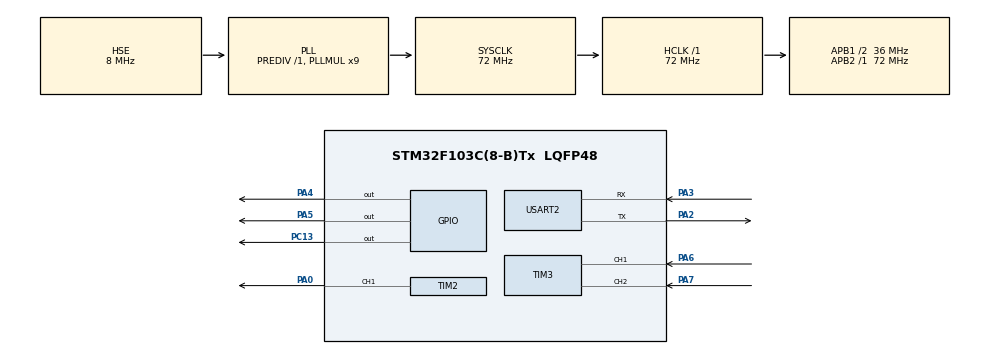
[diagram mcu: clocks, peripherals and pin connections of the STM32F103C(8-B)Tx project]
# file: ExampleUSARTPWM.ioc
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Mcu.Family=STM32F1
Mcu.Name=STM32F103C(8-B)Tx
Mcu.Package=LQFP48
NVIC.PriorityGroup=NVIC_PRIORITYGROUP_4
NVIC.TIM1_BRK_IRQn=true\:0\:0\:false\:false\:true\:true\:true
NVIC.TIM1_CC_IRQn=true\:0\:0\:false\:false\:true\:true\:true
NVIC.TIM1_TRG_COM_IRQn=true\:0\:0\:false\:false\:true\:true\:true
NVIC.TIM1_UP_IRQn=true\:0\:0\:false\:false\:true\:true\:true
NVIC.TIM3_IRQn=true\:0\:0\:false\:false\:true\:true\:true
NVIC.USART2_IRQn=true\:0\:0\:false\:false\:true\:true\:true
PA0-WKUP.Signal=S_TIM2_CH1_ETR
PA2.Mode=Asynchronous
PA2.Signal=USART2_TX
PA3.Mode=Asynchronous
PA3.Signal=USART2_RX
PA4.Signal=GPIO_Output
PA5.Signal=GPIO_Output
PA6.Signal=S_TIM3_CH1
PA7.Signal=S_TIM3_CH2
PC13-TAMPER-RTC.Signal=GPIO_Output
PD0-OSC_IN.Mode=HSE-External-Oscillator
PD0-OSC_IN.Signal=RCC_OSC_IN
PD1-OSC_OUT.Mode=HSE-External-Oscillator
PD1-OSC_OUT.Signal=RCC_OSC_OUT
ProjectManager.HeapSize=0x200
ProjectManager.StackSize=0x400
ProjectManager.TargetToolchain=STM32CubeIDE
RCC.AHBFreq_Value=72000000
RCC.APB1CLKDivider=RCC_HCLK_DIV2
RCC.APB1Freq_Value=36000000
RCC.APB1TimFreq_Value=72000000
RCC.APB2Freq_Value=72000000
RCC.APB2TimFreq_Value=72000000
RCC.HCLKFreq_Value=72000000
RCC.PLLMUL=RCC_PLL_MUL9
RCC.PLLSourceVirtual=RCC_PLLSOURCE_HSE
RCC.SYSCLKFreq_VALUE=72000000
RCC.SYSCLKSource=RCC_SYSCLKSOURCE_PLLCLK
RCC.USBFreq_Value=72000000
SH.S_TIM2_CH1_ETR.0=TIM2_CH1,PWM Generation1 CH1
SH.S_TIM3_CH1.0=TIM3_CH1,Encoder_Interface
SH.S_TIM3_CH2.0=TIM3_CH2,Encoder_Interface
TIM1.Channel-Output\ Compare1\ No\ Output=TIM_CHANNEL_1
TIM2.Channel-PWM\ Generation1\ CH1=TIM_CHANNEL_1
USART2.VirtualMode=VM_ASYNC
VP_SYS_VS_ND.Mode=No_Debug
VP_TIM1_VS_ClockSourceINT.Mode=Internal
VP_TIM1_VS_no_output1.Mode=Output Compare1 No Output
board=custom

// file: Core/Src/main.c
/* USER CODE BEGIN Header */
/**
  ******************************************************************************
  * @file           : main.c
  * @brief          : Main program body
  ******************************************************************************
  * @attention
  *
  * <h2><center>&copy; Copyright (c) 2020 STMicroelectronics.
  * All rights reserved.</center></h2>
  *
  * This software component is licensed by ST under BSD 3-Clause license,
  * the "License"; You may not use this file except in compliance with the
  * License. You may obtain a copy of the License at:
  *                        opensource.org/licenses/BSD-3-Clause
  *
  ******************************************************************************
  */
/* USER CODE END Header */

#include "main.h"

/* USER CODE BEGIN Includes */
#include "stdlib.h"
#include <stdio.h>
#include <inttypes.h>
#include "retarget.h"
/* USER CODE END Includes */

/* USER CODE BEGIN PD */
#define MAX_BUFFER 20
/* USER CODE END PD */

TIM_HandleTypeDef htim1;
TIM_HandleTypeDef htim2;
TIM_HandleTypeDef htim3;

UART_HandleTypeDef huart2;

/* USER CODE BEGIN PV */
uint8_t byte, indRx, flagRx, imprimir = 1, sentido;
char buffer[MAX_BUFFER];
int contOUFlow = 0, pulsosAnt = 0, pulsosAct = 0;
float velocidadPulsos = 0, velocidadRPM = 0, deltaT = 0.01;
/* USER CODE END PV */

//variables para control
double error_vel_act = 0, error_vel_ant = 0;
double velocidad_consigna=28;
float KP = 1, KI = 10, KD = 0;
double Ui_anterior=0, Ui_actual=0; // para control integral
double Up=0;
double Ud=0;
int control=0;

uint32_t duty_cycle_pid = 0;
void SystemClock_Config(void);
static void MX_GPIO_Init(void);
static void MX_TIM2_Init(void);
static void MX_USART2_UART_Init(void);
static void MX_TIM1_Init(void);
static void MX_TIM3_Init(void);

void interpreteComando(){

	uint32_t duty_cycle;
	double consigna;

	switch(buffer[0]){
	case 'W':
	case 'w':
		switch(buffer[1]){
		case 'I':
		case 'i':
			HAL_GPIO_TogglePin(GPIOA, GPIO_PIN_4);
			HAL_GPIO_TogglePin(GPIOA, GPIO_PIN_5);
			consigna = atof(&buffer[2]);
			//duty_cycle = (uint32_t) ((consigna*0.6) * __HAL_TIM_GET_AUTORELOAD(&htim2));
			//duty_cycle = (uint32_t) ((consigna));
			//__HAL_TIM_SET_COMPARE(&htim2, TIM_CHANNEL_1, duty_cycle);
			//printf("\r\n Duty Cycle (inversion de marcha):  %" PRIu32 "\r\n", duty_cycle);

			//imprimir = 1;
			break;

		default:
//			HAL_GPIO_WritePin(GPIOA, GPIO_PIN_4, 1);
//			HAL_GPIO_WritePin(GPIOA, GPIO_PIN_5, 0);
			consigna = atof(&buffer[1]);
			//duty_cycle = (uint32_t) ((consigna/23) * __HAL_TIM_GET_AUTORELOAD(&htim2));
			//duty_cycle = (uint32_t) ((consigna));
			//__HAL_TIM_SET_COMPARE(&htim2, TIM_CHANNEL_1, duty_cycle);
			printf("\r\n Duty Cycle: %" PRIu32 "\r\n", __HAL_TIM_GET_COMPARE(&htim2,TIM_CHANNEL_1));
			//imprimir = 1;

		}
		break;
	case 'v':
	case 'V':
		printf("\r\nVelocidad: %lf\r\n", velocidadRPM);
		break;
	case 'c':
	case 'C':
		control=1;
		break;
	}

}
int main(void)
{

  /* MCU Configuration--------------------------------------------------------*/

  /* Reset of all peripherals, Initializes the Flash interface and the Systick. */
  HAL_Init();

  /* Configure the system clock */
  SystemClock_Config();

  /* Initialize all configured peripherals */
  MX_GPIO_Init();
  MX_TIM2_Init();
  MX_USART2_UART_Init();
  MX_TIM1_Init();
  MX_TIM3_Init();
  /* USER CODE BEGIN 2 */

  RetargetInit(&huart2);
  HAL_UART_Receive_IT(&huart2, &byte, 1);

	HAL_TIM_Base_Start_IT(&htim1);
	HAL_TIM_OC_Start_IT(&htim1, TIM_CHANNEL_1);

    HAL_TIM_Base_Start(&htim2);
    HAL_TIM_PWM_Start_IT(&htim2, TIM_CHANNEL_1);

    HAL_TIM_Base_Start_IT(&htim3);
    HAL_TIM_Encoder_Start_IT(&htim3, TIM_CHANNEL_ALL);

    HAL_GPIO_WritePin(GPIOA, GPIO_PIN_4, 0);
    HAL_GPIO_WritePin(GPIOA, GPIO_PIN_5, 1);
  /* USER CODE END 2 */

  /* Infinite loop */
  while (1)
  {
	HAL_GPIO_WritePin(GPIOC, GPIO_PIN_13, 1);
	HAL_Delay(100);
	HAL_GPIO_WritePin(GPIOC, GPIO_PIN_13, 0);
	HAL_Delay(100);

  }
}

void HAL_TIM_PeriodElapsedCallback (TIM_HandleTypeDef *htim){
	if(htim->Instance == TIM1){
		pulsosAct = contOUFlow*(htim->Init.Period+1) + __HAL_TIM_GET_COUNTER(&htim3);
		velocidadPulsos = (pulsosAct - pulsosAnt)/deltaT;
		velocidadRPM = velocidadPulsos/(168*44) * 60;
		pulsosAnt = pulsosAct;
		if(control==1){

			//printf("\r\nVelocidad: %f\r\n", velocidadRPM); // @suppress("Float formatting support")
			//calculo PID:
			printf("\r\nVelocidad: %lf\r\n", velocidadRPM);
			error_vel_act = velocidad_consigna-velocidadRPM;
			Up=KP * error_vel_act;
			Ui_actual=Ui_anterior + KI * deltaT * error_vel_ant;
			Ud=KD/ deltaT * (error_vel_act-error_vel_ant);
			duty_cycle_pid = (uint32_t) (Up + Ui_actual + Ud);
			if(duty_cycle_pid > 12200){
				duty_cycle_pid=12200;
			}
			__HAL_TIM_SET_COMPARE(&htim2, TIM_CHANNEL_1, duty_cycle_pid);
			Ui_anterior=Ui_actual;
			error_vel_ant=error_vel_act;
		}
	}else if(htim->Instance == TIM3){
		if(__HAL_TIM_GET_COUNTER(&htim3) > (htim->Init.Period+1)/2){ //Underflow
			contOUFlow--;
		}else{ //Overflow
			contOUFlow++;
		}
	}
}

void HAL_UART_RxCpltCallback(UART_HandleTypeDef *huart){

	  if (huart->Instance == USART2)
	  {
		  switch(byte){
		  	  case ':': //Comienzo de la trama
		  		  flagRx = 1;
		  		  imprimir = 0;
		  		  HAL_UART_Transmit(&huart2, &byte, 1, 100);
		  		  indRx = 0;
		  		  break;
		  	  case '\r': //Retorno, fin de trama.
		  	  case ';':  //Fin de trama.
		  		HAL_UART_Transmit(&huart2, &byte, 1, 100);
		  		  if(flagRx){
		  			flagRx = 0;
		  			buffer[indRx] = 0;
		  			interpreteComando();
		  		  }
		  		  break;
		  	  case 8: //Retroceso es permitido de esta manera.
		  		  if(flagRx){
		  			  if(indRx > 0) indRx--;
		  		  }
		  		  break;
		  	  default: //Almacenamiento de la trama.
		  		HAL_UART_Transmit(&huart2, &byte, 1, 100);
		  		  if(flagRx){
		  			  buffer[indRx] = byte;
		  			  if(indRx < MAX_BUFFER - 1) indRx++;
		  		  }
		  }

	    /* Receive one byte in interrupt mode */
	    HAL_UART_Receive_IT(&huart2, &byte, 1);
	  }
}
void SystemClock_Config(void)
{
  RCC_OscInitTypeDef RCC_OscInitStruct = {0};
  RCC_ClkInitTypeDef RCC_ClkInitStruct = {0};

  /** Initializes the CPU, AHB and APB busses clocks
  */
  RCC_OscInitStruct.OscillatorType = RCC_OSCILLATORTYPE_HSE;
  RCC_OscInitStruct.HSEState = RCC_HSE_ON;
  RCC_OscInitStruct.HSEPredivValue = RCC_HSE_PREDIV_DIV1;
  RCC_OscInitStruct.HSIState = RCC_HSI_ON;
  RCC_OscInitStruct.PLL.PLLState = RCC_PLL_ON;
  RCC_OscInitStruct.PLL.PLLSource = RCC_PLLSOURCE_HSE;
  RCC_OscInitStruct.PLL.PLLMUL = RCC_PLL_MUL9;
  if (HAL_RCC_OscConfig(&RCC_OscInitStruct) != HAL_OK)
  {
    Error_Handler();
  }
  /** Initializes the CPU, AHB and APB busses clocks
  */
  RCC_ClkInitStruct.ClockType = RCC_CLOCKTYPE_HCLK|RCC_CLOCKTYPE_SYSCLK
                              |RCC_CLOCKTYPE_PCLK1|RCC_CLOCKTYPE_PCLK2;
  RCC_ClkInitStruct.SYSCLKSource = RCC_SYSCLKSOURCE_PLLCLK;
  RCC_ClkInitStruct.AHBCLKDivider = RCC_SYSCLK_DIV1;
  RCC_ClkInitStruct.APB1CLKDivider = RCC_HCLK_DIV2;
  RCC_ClkInitStruct.APB2CLKDivider = RCC_HCLK_DIV1;

  if (HAL_RCC_ClockConfig(&RCC_ClkInitStruct, FLASH_LATENCY_2) != HAL_OK)
  {
    Error_Handler();
  }
}

static void MX_TIM1_Init(void)
{

  TIM_ClockConfigTypeDef sClockSourceConfig = {0};
  TIM_MasterConfigTypeDef sMasterConfig = {0};
  TIM_OC_InitTypeDef sConfigOC = {0};
  TIM_BreakDeadTimeConfigTypeDef sBreakDeadTimeConfig = {0};

  htim1.Instance = TIM1;
  htim1.Init.Prescaler = 12;
  htim1.Init.CounterMode = TIM_COUNTERMODE_UP;
  htim1.Init.Period = 59999;
  htim1.Init.ClockDivision = TIM_CLOCKDIVISION_DIV1;
  htim1.Init.RepetitionCounter = 0;
  htim1.Init.AutoReloadPreload = TIM_AUTORELOAD_PRELOAD_DISABLE;
  if (HAL_TIM_Base_Init(&htim1) != HAL_OK)
  {
    Error_Handler();
  }
  sClockSourceConfig.ClockSource = TIM_CLOCKSOURCE_INTERNAL;
  if (HAL_TIM_ConfigClockSource(&htim1, &sClockSourceConfig) != HAL_OK)
  {
    Error_Handler();
  }
  if (HAL_TIM_OC_Init(&htim1) != HAL_OK)
  {
    Error_Handler();
  }
  sMasterConfig.MasterOutputTrigger = TIM_TRGO_RESET;
  sMasterConfig.MasterSlaveMode = TIM_MASTERSLAVEMODE_DISABLE;
  if (HAL_TIMEx_MasterConfigSynchronization(&htim1, &sMasterConfig) != HAL_OK)
  {
    Error_Handler();
  }
  sConfigOC.OCMode = TIM_OCMODE_TIMING;
  sConfigOC.Pulse = 59999;
  sConfigOC.OCPolarity = TIM_OCPOLARITY_HIGH;
  sConfigOC.OCNPolarity = TIM_OCNPOLARITY_HIGH;
  sConfigOC.OCFastMode = TIM_OCFAST_DISABLE;
  sConfigOC.OCIdleState = TIM_OCIDLESTATE_RESET;
  sConfigOC.OCNIdleState = TIM_OCNIDLESTATE_RESET;
  if (HAL_TIM_OC_ConfigChannel(&htim1, &sConfigOC, TIM_CHANNEL_1) != HAL_OK)
  {
    Error_Handler();
  }
  sBreakDeadTimeConfig.OffStateRunMode = TIM_OSSR_DISABLE;
  sBreakDeadTimeConfig.OffStateIDLEMode = TIM_OSSI_DISABLE;
  sBreakDeadTimeConfig.LockLevel = TIM_LOCKLEVEL_OFF;
  sBreakDeadTimeConfig.DeadTime = 0;
  sBreakDeadTimeConfig.BreakState = TIM_BREAK_DISABLE;
  sBreakDeadTimeConfig.BreakPolarity = TIM_BREAKPOLARITY_HIGH;
  sBreakDeadTimeConfig.AutomaticOutput = TIM_AUTOMATICOUTPUT_DISABLE;
  if (HAL_TIMEx_ConfigBreakDeadTime(&htim1, &sBreakDeadTimeConfig) != HAL_OK)
  {
    Error_Handler();
  }

}

static void MX_TIM2_Init(void)
{

  TIM_MasterConfigTypeDef sMasterConfig = {0};
  TIM_OC_InitTypeDef sConfigOC = {0};

  htim2.Instance = TIM2;
  htim2.Init.Prescaler = 0;
  htim2.Init.CounterMode = TIM_COUNTERMODE_UP;
  htim2.Init.Period = 18000;
  htim2.Init.ClockDivision = TIM_CLOCKDIVISION_DIV1;
  htim2.Init.AutoReloadPreload = TIM_AUTORELOAD_PRELOAD_DISABLE;
  if (HAL_TIM_PWM_Init(&htim2) != HAL_OK)
  {
    Error_Handler();
  }
  sMasterConfig.MasterOutputTrigger = TIM_TRGO_RESET;
  sMasterConfig.MasterSlaveMode = TIM_MASTERSLAVEMODE_DISABLE;
  if (HAL_TIMEx_MasterConfigSynchronization(&htim2, &sMasterConfig) != HAL_OK)
  {
    Error_Handler();
  }
  sConfigOC.OCMode = TIM_OCMODE_PWM1;
  sConfigOC.Pulse = 0;
  sConfigOC.OCPolarity = TIM_OCPOLARITY_HIGH;
  sConfigOC.OCFastMode = TIM_OCFAST_DISABLE;
  if (HAL_TIM_PWM_ConfigChannel(&htim2, &sConfigOC, TIM_CHANNEL_1) != HAL_OK)
  {
    Error_Handler();
  }
  HAL_TIM_MspPostInit(&htim2);

}

static void MX_TIM3_Init(void)
{

  TIM_Encoder_InitTypeDef sConfig = {0};
  TIM_MasterConfigTypeDef sMasterConfig = {0};

  htim3.Instance = TIM3;
  htim3.Init.Prescaler = 0;
  htim3.Init.CounterMode = TIM_COUNTERMODE_UP;
  htim3.Init.Period = 64999; //Para utilizar un numero redondo.
  htim3.Init.ClockDivision = TIM_CLOCKDIVISION_DIV1;
  htim3.Init.AutoReloadPreload = TIM_AUTORELOAD_PRELOAD_DISABLE;
  sConfig.EncoderMode = TIM_ENCODERMODE_TI12;
  sConfig.IC1Polarity = TIM_ICPOLARITY_RISING;
  sConfig.IC1Selection = TIM_ICSELECTION_DIRECTTI;
  sConfig.IC1Prescaler = TIM_ICPSC_DIV1;
  sConfig.IC1Filter = 0;
  sConfig.IC2Polarity = TIM_ICPOLARITY_RISING;
  sConfig.IC2Selection = TIM_ICSELECTION_DIRECTTI;
  sConfig.IC2Prescaler = TIM_ICPSC_DIV1;
  sConfig.IC2Filter = 0;
  if (HAL_TIM_Encoder_Init(&htim3, &sConfig) != HAL_OK)
  {
    Error_Handler();
  }
  sMasterConfig.MasterOutputTrigger = TIM_TRGO_RESET;
  sMasterConfig.MasterSlaveMode = TIM_MASTERSLAVEMODE_DISABLE;
  if (HAL_TIMEx_MasterConfigSynchronization(&htim3, &sMasterConfig) != HAL_OK)
  {
    Error_Handler();
  }

}

static void MX_USART2_UART_Init(void)
{

  huart2.Instance = USART2;
  huart2.Init.BaudRate = 115200;
  huart2.Init.WordLength = UART_WORDLENGTH_8B;
  huart2.Init.StopBits = UART_STOPBITS_1;
  huart2.Init.Parity = UART_PARITY_NONE;
  huart2.Init.Mode = UART_MODE_TX_RX;
  huart2.Init.HwFlowCtl = UART_HWCONTROL_NONE;
  huart2.Init.OverSampling = UART_OVERSAMPLING_16;
  if (HAL_UART_Init(&huart2) != HAL_OK)
  {
    Error_Handler();
  }

}

static void MX_GPIO_Init(void)
{
  GPIO_InitTypeDef GPIO_InitStruct = {0};

  /* GPIO Ports Clock Enable */
  __HAL_RCC_GPIOC_CLK_ENABLE();
  __HAL_RCC_GPIOD_CLK_ENABLE();
  __HAL_RCC_GPIOA_CLK_ENABLE();

  /*Configure GPIO pin Output Level */
  HAL_GPIO_WritePin(GPIOC, GPIO_PIN_13, GPIO_PIN_RESET);

  /*Configure GPIO pin Output Level */
  HAL_GPIO_WritePin(GPIOA, GPIO_PIN_4|GPIO_PIN_5, GPIO_PIN_RESET);

  /*Configure GPIO pin : PC13 */
  GPIO_InitStruct.Pin = GPIO_PIN_13;
  GPIO_InitStruct.Mode = GPIO_MODE_OUTPUT_PP;
  GPIO_InitStruct.Pull = GPIO_NOPULL;
  GPIO_InitStruct.Speed = GPIO_SPEED_FREQ_LOW;
  HAL_GPIO_Init(GPIOC, &GPIO_InitStruct);

  /*Configure GPIO pins : PA4 PA5 */
  GPIO_InitStruct.Pin = GPIO_PIN_4|GPIO_PIN_5;
  GPIO_InitStruct.Mode = GPIO_MODE_OUTPUT_PP;
  GPIO_InitStruct.Pull = GPIO_NOPULL;
  GPIO_InitStruct.Speed = GPIO_SPEED_FREQ_LOW;
  HAL_GPIO_Init(GPIOA, &GPIO_InitStruct);

}

void Error_Handler(void)
{
}

/************************ (C) COPYRIGHT STMicroelectronics *****END OF FILE****/
